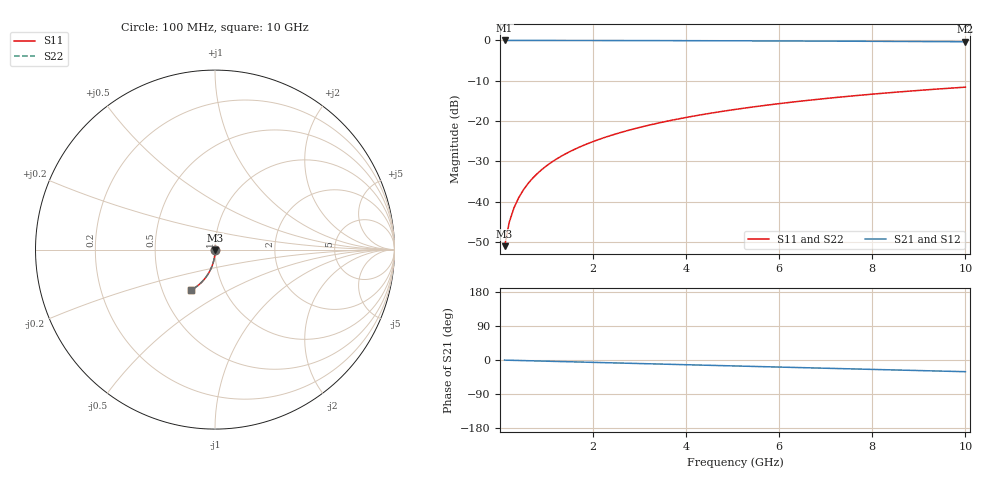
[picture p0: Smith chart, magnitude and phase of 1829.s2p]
# Hz S RI R 50.00
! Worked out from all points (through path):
!   100 points, 100 MHz to 10 GHz, reference 50 ohm
!   highest |S21| = 0.00 dB at 100 MHz (marker M1); lowest = -0.3 dB at 10 GHz (marker M2)
!   group delay of S21, straight-line fit = 8.59 ps
!   lowest |S11| = -51.0 dB at 100 MHz (marker M3), VSWR 1.01, Z = 50 - j0.28 ohm
!   |S11| at or under -10 dB: start of sweep to end of sweep
!   |S22| runs from -51.0 to -11.6 dB; largest |S21 - S12| = 0
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1e8  0.000401 -0.00279  0.9996 -0.00543  0.9996 -0.00543  0.000401 -0.00279
2e8  0.000355 -0.00559  0.9995 -0.0109  0.9995 -0.0109  0.000355 -0.00559
3e8  0.000277 -0.00838  0.9994 -0.0163  0.9994 -0.0163  0.000277 -0.00838
4e8  0.000169 -0.0112  0.9993 -0.0217  0.9993 -0.0217  0.000169 -0.0112
5e8  2.96e-05 -0.014  0.9991 -0.0271  0.9991 -0.0271  2.96e-05 -0.014
6e8  -0.00014 -0.0168  0.9989 -0.0325  0.9989 -0.0325  -0.00014 -0.0168
7e8  -0.00034 -0.0195  0.9986 -0.038  0.9986 -0.038  -0.00034 -0.0195
8e8  -0.00057 -0.0223  0.9983 -0.0434  0.9983 -0.0434  -0.00057 -0.0223
9e8  -0.00083 -0.0251  0.998 -0.0488  0.998 -0.0488  -0.00083 -0.0251
1.1e9  -0.00144 -0.0307  0.9973 -0.0596  0.9973 -0.0596  -0.00144 -0.0307
1.4e9  -0.00259 -0.039  0.9959 -0.0759  0.9959 -0.0759  -0.00259 -0.039
1.8e9  -0.00454 -0.05  0.9935 -0.0975  0.9935 -0.0975  -0.00454 -0.05
2.1e9  -0.00631 -0.0583  0.9913 -0.1136  0.9913 -0.1136  -0.00631 -0.0583
2.5e9  -0.0091 -0.0691  0.9878 -0.135  0.9878 -0.135  -0.0091 -0.0691
2.9e9  -0.0124 -0.0798  0.9838 -0.1563  0.9838 -0.1563  -0.0124 -0.0798
3.4e9  -0.0171 -0.093  0.978 -0.1828  0.978 -0.1828  -0.0171 -0.093
4.2e9  -0.0261 -0.1136  0.9668 -0.2246  0.9668 -0.2246  -0.0261 -0.1136
5.1e9  -0.0383 -0.1356  0.9516 -0.2706  0.9516 -0.2706  -0.0383 -0.1356
5.9e9  -0.0508 -0.154  0.9359 -0.3104  0.9359 -0.3104  -0.0508 -0.154
6.7e9  -0.0648 -0.1712  0.9182 -0.3491  0.9182 -0.3491  -0.0648 -0.1712
8.4e9  -0.0989 -0.203  0.8747 -0.427  0.8747 -0.427  -0.0989 -0.203
1e10  -0.1351 -0.2264  0.8273 -0.4942  0.8273 -0.4942  -0.1351 -0.2264
